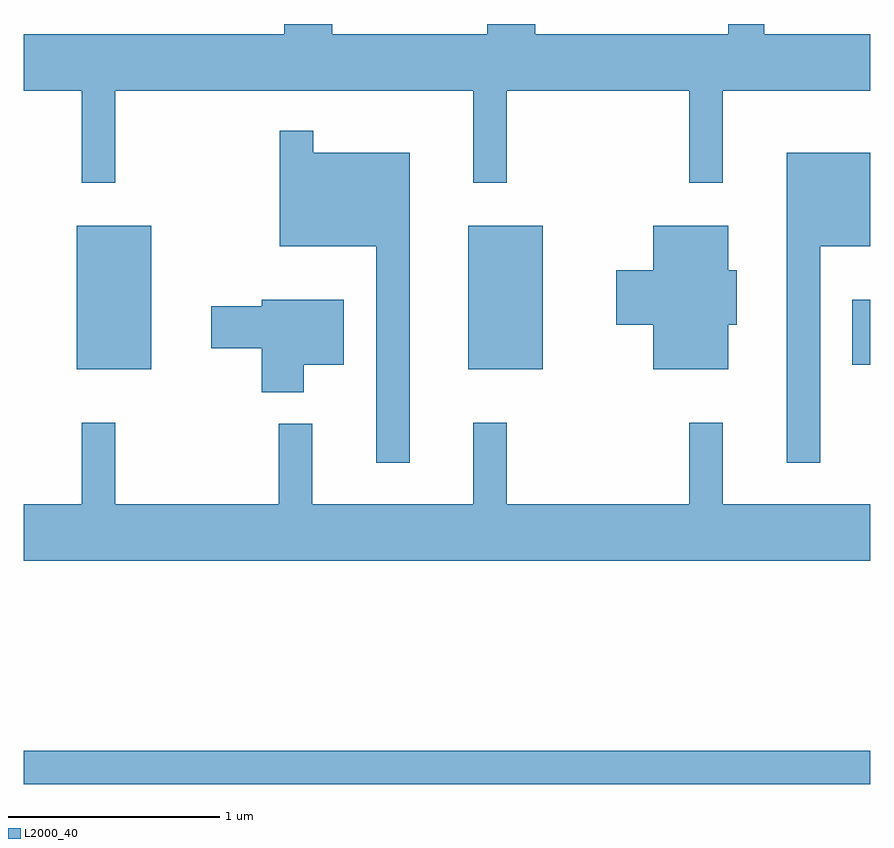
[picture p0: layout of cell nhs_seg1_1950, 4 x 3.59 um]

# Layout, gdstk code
import gdstk
lib = gdstk.Library(unit=1e-6, precision=1e-09)
def R(c, l, rs):  # rectangles x0, y0, x1, y1
    for r in rs: c.add(gdstk.rectangle(r[:2], r[2:], *l))
def P(c, l, *ps):  # polygons
    for p in ps: c.add(gdstk.Polygon(p, *l))
L2000_40 = (2000, 40)

nhs_seg1_1950 = lib.new_cell('nhs_seg1_1950')
R(nhs_seg1_1950, L2000_40, [(245.611,854.121,249.611,854.279), (245.861,856.081,246.214,856.759), (247.711,856.081,248.064,856.759), (249.526,856.101,249.611,856.409)])
P(nhs_seg1_1950, L2000_40, [(246.044,857.396),(247.736,857.396),(247.736,856.963),(247.894,856.963),(247.894,857.396),(248.756,857.396),(248.756,856.963),(248.914,856.963),(248.914,857.396),(249.611,857.396),(249.611,857.664),(249.109,857.664),(249.109,857.712),(248.941,857.712),(248.941,857.664),(248.029,857.664),(248.029,857.712),(247.801,857.712),(247.801,857.664),(247.069,857.664),(247.069,857.712),(246.841,857.712),(246.841,857.664),(245.611,857.664),(245.611,857.396),(245.886,857.396),(245.886,856.963),(246.044,856.963)],
  [(247.434,857.104),(246.979,857.104),(246.979,857.208),(246.821,857.208),(246.821,856.661),(247.276,856.661),(247.276,855.638),(247.434,855.638)],
  [(249.374,856.661),(249.611,856.661),(249.611,857.104),(249.216,857.104),(249.216,855.638),(249.374,855.638)],
  [(248.939,856.291),(248.979,856.291),(248.979,856.549),(248.939,856.549),(248.939,856.759),(248.586,856.759),(248.586,856.549),(248.411,856.549),(248.411,856.291),(248.586,856.291),(248.586,856.081),(248.939,856.081)],
  [(246.934,856.101),(247.124,856.101),(247.124,856.409),(246.736,856.409),(246.736,856.379),(246.496,856.379),(246.496,856.181),(246.736,856.181),(246.736,855.971),(246.934,855.971)],
  [(249.611,855.444),(248.914,855.444),(248.914,855.828),(248.756,855.828),(248.756,855.444),(247.894,855.444),(247.894,855.828),(247.736,855.828),(247.736,855.444),(246.974,855.444),(246.974,855.823),(246.816,855.823),(246.816,855.444),(246.044,855.444),(246.044,855.828),(245.886,855.828),(245.886,855.444),(245.611,855.444),(245.611,855.176),(249.611,855.176)])

lib.write_gds('nhs_seg1_1950.gds')
